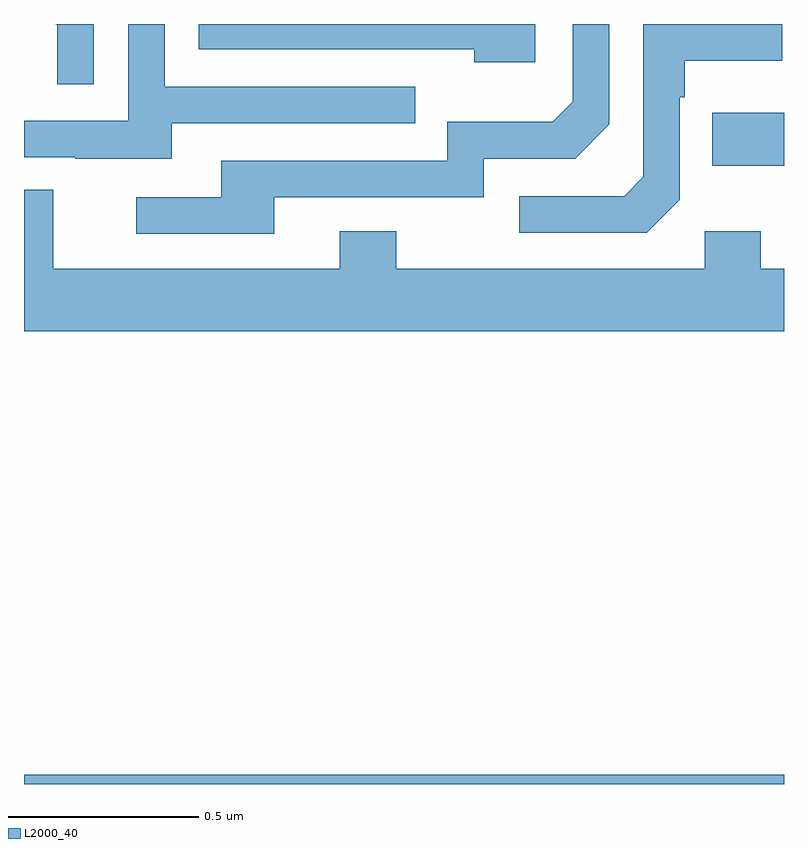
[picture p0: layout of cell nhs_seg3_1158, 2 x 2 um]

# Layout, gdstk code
import gdstk
lib = gdstk.Library(unit=1e-6, precision=1e-09)
def R(c, l, rs):  # rectangles x0, y0, x1, y1
    for r in rs: c.add(gdstk.rectangle(r[:2], r[2:], *l))
def P(c, l, *ps):  # polygons
    for p in ps: c.add(gdstk.Polygon(p, *l))
L2000_40 = (2000, 40)

nhs_seg3_1158 = lib.new_cell('nhs_seg3_1158')
R(nhs_seg3_1158, L2000_40, [(125,690.4,127,690.424), (126.811,692.027,127,692.167)])
P(nhs_seg3_1158, L2000_40, [(125.184,692.4),(125.084,692.4),(125.087,692.397),(125.087,692.241),(125.184,692.241)],
  [(126.346,692.4),(125.46,692.4),(125.46,692.334),(126.185,692.334),(126.185,692.3),(126.346,692.3)],
  [(125.389,692.139),(126.029,692.139),(126.029,692.235),(125.37,692.235),(125.37,692.4),(125.274,692.4),(125.274,692.145),(125,692.145),(125,692.049),(125.135,692.049),(125.135,692.045),(125.389,692.045)],
  [(125.659,691.944),(126.21,691.944),(126.21,692.046),(126.45,692.046),(126.54,692.136),(126.54,692.4),(126.444,692.4),(126.444,692.196),(126.391,692.143),(126.114,692.143),(126.114,692.04),(125.519,692.04),(125.519,691.944),(125.295,691.944),(125.295,691.848),(125.659,691.848)],
  [(126.726,691.938),(126.726,692.207),(126.739,692.207),(126.739,692.303),(126.995,692.303),(126.995,692.4),(126.63,692.4),(126.63,691.998),(126.579,691.947),(126.303,691.947),(126.303,691.851),(126.639,691.851)],
  [(127,691.756),(126.939,691.756),(126.939,691.855),(126.792,691.855),(126.792,691.756),(125.979,691.756),(125.979,691.855),(125.831,691.855),(125.831,691.756),(125.077,691.756),(125.077,691.964),(125,691.964),(125,691.592),(127,691.592)])

lib.write_gds('nhs_seg3_1158.gds')
